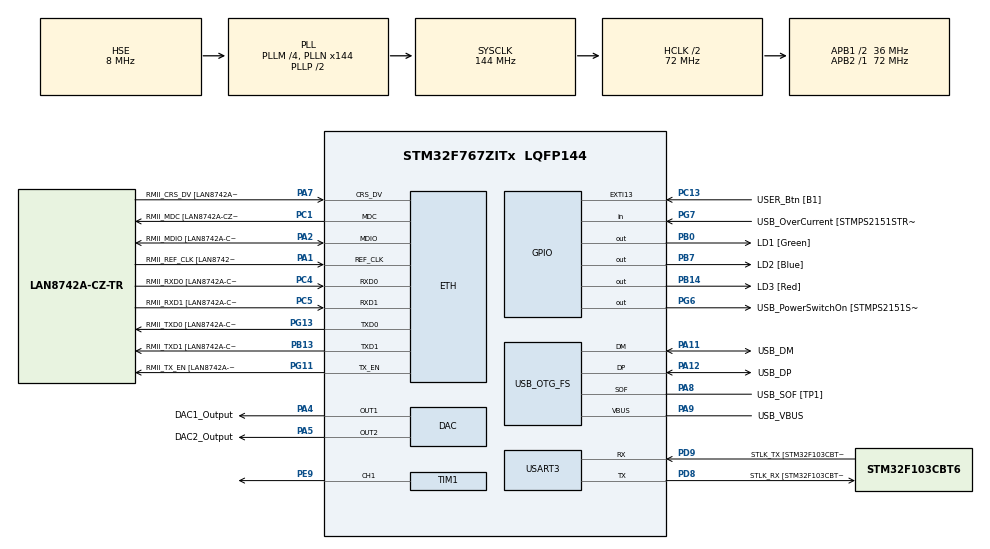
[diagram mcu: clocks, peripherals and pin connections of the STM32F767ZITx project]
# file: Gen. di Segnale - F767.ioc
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ETH.MediaInterface=HAL_ETH_RMII_MODE
ETH.PHY_Name=LAN8742A_PHY_ADDRESS
ETH.PHY_Value=0
ETH.PhyAddress=0
Mcu.Family=STM32F7
Mcu.Name=STM32F767ZITx
Mcu.Package=LQFP144
NVIC.PriorityGroup=NVIC_PRIORITYGROUP_4
NVIC.TIM2_IRQn=true\:0\:0\:false\:false\:true\:true\:true\:true
PA1.GPIO_Label=RMII_REF_CLK [LAN8742A-CZ-TR_REFCLK0]
PA1.Mode=RMII
PA1.Signal=ETH_REF_CLK
PA10.GPIO_Label=USB_ID
PA10.Signal=USB_OTG_FS_ID
PA11.GPIO_Label=USB_DM
PA11.Mode=Device_Only
PA11.Signal=USB_OTG_FS_DM
PA12.GPIO_Label=USB_DP
PA12.Mode=Device_Only
PA12.Signal=USB_OTG_FS_DP
PA13.GPIO_Label=TMS
PA13.Mode=Serial_Wire
PA13.Signal=SYS_JTMS-SWDIO
PA14.GPIO_Label=TCK
PA14.Mode=Serial_Wire
PA14.Signal=SYS_JTCK-SWCLK
PA2.GPIO_Label=RMII_MDIO [LAN8742A-CZ-TR_MDIO]
PA2.Mode=RMII
PA2.Signal=ETH_MDIO
PA4.GPIO_Label=DAC1_Output
PA4.Signal=COMP_DAC1_group
PA5.GPIO_Label=DAC2_Output
PA5.Signal=COMP_DAC2_group
PA7.GPIO_Label=RMII_CRS_DV [LAN8742A-CZ-TR_CRS_DV]
PA7.Mode=RMII
PA7.Signal=ETH_CRS_DV
PA8.GPIO_Label=USB_SOF [TP1]
PA8.Mode=Activate_SOF_FS
PA8.Signal=USB_OTG_FS_SOF
PA9.GPIO_Label=USB_VBUS
PA9.Mode=Activate_VBUS
PA9.Signal=USB_OTG_FS_VBUS
PB0.GPIO_Label=LD1 [Green]
PB0.Signal=GPIO_Output
PB13.GPIO_Label=RMII_TXD1 [LAN8742A-CZ-TR_TXD1]
PB13.Mode=RMII
PB13.Signal=ETH_TXD1
PB14.GPIO_Label=LD3 [Red]
PB14.Signal=GPIO_Output
PB3.GPIO_Label=SWO
PB3.Signal=SYS_JTDO-SWO
PB7.GPIO_Label=LD2 [Blue]
PB7.Signal=GPIO_Output
PC1.GPIO_Label=RMII_MDC [LAN8742A-CZ-TR_MDC]
PC1.Mode=RMII
PC1.Signal=ETH_MDC
PC13.GPIO_Label=USER_Btn [B1]
PC13.Signal=GPXTI13
PC14/OSC32_IN.Mode=LSE-External-Oscillator
PC14/OSC32_IN.Signal=RCC_OSC32_IN
PC15/OSC32_OUT.Mode=LSE-External-Oscillator
PC15/OSC32_OUT.Signal=RCC_OSC32_OUT
PC4.GPIO_Label=RMII_RXD0 [LAN8742A-CZ-TR_RXD0]
PC4.Mode=RMII
PC4.Signal=ETH_RXD0
PC5.GPIO_Label=RMII_RXD1 [LAN8742A-CZ-TR_RXD1]
PC5.Mode=RMII
PC5.Signal=ETH_RXD1
PD8.GPIO_Label=STLK_RX [STM32F103CBT6_PA3]
PD8.Mode=Asynchronous
PD8.Signal=USART3_TX
PD9.GPIO_Label=STLK_TX [STM32F103CBT6_PA2]
PD9.Mode=Asynchronous
PD9.Signal=USART3_RX
PE9.Signal=S_TIM1_CH1
PG11.GPIO_Label=RMII_TX_EN [LAN8742A-CZ-TR_TXEN]
PG11.Mode=RMII
PG11.Signal=ETH_TX_EN
PG13.GPIO_Label=RMII_TXD0 [LAN8742A-CZ-TR_TXD0]
PG13.Mode=RMII
PG13.Signal=ETH_TXD0
PG6.GPIO_Label=USB_PowerSwitchOn [STMPS2151STR_EN]
PG6.Signal=GPIO_Output
PG7.GPIO_Label=USB_OverCurrent [STMPS2151STR_FAULT]
PG7.Signal=GPIO_Input
PH0/OSC_IN.GPIO_Label=MCO [STM32F103CBT6_PA8]
PH0/OSC_IN.Mode=HSE-External-Oscillator
PH0/OSC_IN.Signal=RCC_OSC_IN
PH1/OSC_OUT.Mode=HSE-External-Oscillator
PH1/OSC_OUT.Signal=RCC_OSC_OUT
ProjectManager.HeapSize=0x200
ProjectManager.StackSize=0x400
ProjectManager.TargetToolchain=STM32CubeIDE
RCC.48MHZClocksFreq_Value=24000000
RCC.AHBCLKDivider=RCC_SYSCLK_DIV2
RCC.AHBFreq_Value=72000000
RCC.APB1CLKDivider=RCC_HCLK_DIV2
RCC.APB1Freq_Value=36000000
RCC.APB1TimFreq_Value=72000000
RCC.APB2Freq_Value=72000000
RCC.APB2TimFreq_Value=72000000
RCC.CortexFreq_Value=72000000
RCC.HCLKFreq_Value=72000000
RCC.HSE_VALUE=8000000
RCC.HSI_VALUE=16000000
RCC.PLLM=4
RCC.PLLMUL=RCC_PLL_MUL9
RCC.PLLN=144
RCC.PLLQ=6
RCC.PRESCALERUSB=RCC_USBCLKSOURCE_PLL_DIV1_5
RCC.SYSCLKFreq_VALUE=144000000
RCC.SYSCLKSource=RCC_SYSCLKSOURCE_PLLCLK
RCC.SYSCLKSourceVirtual=RCC_SYSCLKSOURCE_PLLCLK
RCC.USBFreq_Value=48000000
RCC.VCOOutputFreq_Value=288000000
SH.COMP_DAC1_group.0=DAC_OUT1,DAC_OUT1
SH.COMP_DAC2_group.0=DAC_OUT2,DAC_OUT2
SH.S_TIM1_CH1.0=TIM1_CH1,PWM Generation1 CH1
TIM1.AutoReloadPreload=TIM_AUTORELOAD_PRELOAD_ENABLE
TIM1.Channel-PWM\ Generation1\ CH1=TIM_CHANNEL_1
TIM1.Period=1023
TIM2.Period=999
TIM2.Prescaler=7199
USART3.VirtualMode-Asynchronous=VM_ASYNC
USB_OTG_FS.VirtualMode=Device_Only
VP_TIM1_VS_ClockSourceINT.Mode=Internal
VP_TIM2_VS_ClockSourceINT.Mode=Internal
board=NUCLEO-F767ZI

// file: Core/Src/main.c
/* USER CODE BEGIN Header */
/**
  ******************************************************************************
  * @file           : main.c
  * @brief          : Main program body
  ******************************************************************************
  * @attention
  *
  * Copyright (c) 2023 STMicroelectronics.
  * All rights reserved.
  *
  * This software is licensed under terms that can be found in the LICENSE file
  * in the root directory of this software component.
  * If no LICENSE file comes with this software, it is provided AS-IS.
  *
  ******************************************************************************
  */
/* USER CODE END Header */
#include "main.h"
#include "dac.h"
#include "eth.h"
#include "tim.h"
#include "usart.h"
#include "usb_otg.h"
#include "gpio.h"

/* USER CODE BEGIN Includes */
#include "stdio.h"
#include "gensignal.h"
/* USER CODE END Includes */

/* USER CODE BEGIN PV */
int genSigState=0;
uint8_t step_index=0;
int stepMutex=1;
int butt_Mutex=1;  //debounce che usa lo stesso TIM2 0.33s
uint8_t next_step=1;
uint8_t butt_counter=3;

uint8_t *p_step_index=0;
uint8_t *p_next_step=0;
/* USER CODE END PV */

void SystemClock_Config(void);
/* USER CODE BEGIN PFP */
#define PUTCHAR_PROTOTYPE int __io_putchar(int ch)
/* USER CODE END PFP */

int main(void)
{

  /* MCU Configuration--------------------------------------------------------*/

  /* Reset of all peripherals, Initializes the Flash interface and the Systick. */
  HAL_Init();

  /* Configure the system clock */
  SystemClock_Config();

  /* Initialize all configured peripherals */
  MX_GPIO_Init();
  MX_ETH_Init();
  MX_USART3_UART_Init();
  MX_USB_OTG_FS_PCD_Init();
  MX_DAC_Init();
  MX_TIM1_Init();
  MX_TIM2_Init();
  /* USER CODE BEGIN 2 */
  HAL_DAC_Start(&hdac, DAC_CHANNEL_1);
  HAL_DAC_Start(&hdac, DAC_CHANNEL_2);
  HAL_TIM_PWM_Start(&htim1, TIM_CHANNEL_1);
  TIM1->CCR1 = 0;
  if (HAL_TIM_Base_Start_IT(&htim2) != HAL_OK){
	  /* Starting Error */
	  Error_Handler();
  }
  /* USER CODE END 2 */

  /* Infinite loop */
  /* USER CODE BEGIN WHILE */
  while (1)
  {
	  // gestione stato + LED
	  switch(genSigState){
		case GS_RESET:
			//printf("reset\r\n");
			//step_index=0;
			HAL_GPIO_WritePin(GPIOB, GPIO_PIN_14, GPIO_PIN_SET);  //accendo rosso
			HAL_GPIO_WritePin(GPIOB, GPIO_PIN_7, GPIO_PIN_SET);  //accendo blu
			HAL_GPIO_WritePin(GPIOB, GPIO_PIN_0, GPIO_PIN_SET);  //accendo verde

			if(HAL_GPIO_ReadPin(GPIOC, GPIO_PIN_13) && butt_Mutex){
				genSigState=FASE1;
				step_index=0; // inizia la prossima fase dall'inizio
				next_step=1;
				butt_Mutex=0;
				printf("\n\n   ---- CASE 1 ----\r\n\n");

				continue;
			}
			break;

		case FASE1:
			//printf("case 1\r\n");
			HAL_GPIO_WritePin(GPIOB, GPIO_PIN_14, GPIO_PIN_SET);  //accendo rosso
			HAL_GPIO_WritePin(GPIOB, GPIO_PIN_7, GPIO_PIN_RESET);  //accendo blu
			HAL_GPIO_WritePin(GPIOB, GPIO_PIN_0, GPIO_PIN_RESET);  //accendo verde

			if(HAL_GPIO_ReadPin(GPIOC, GPIO_PIN_13) && butt_Mutex){
				genSigState=FASE2;
				step_index=0;
				next_step=1;
				butt_Mutex=0;
				printf("\n\n   ---- CASE 2 ----\r\n\n");

				continue;
			}
			break;

		case FASE2:
			//printf("case 2\r\n");
			HAL_GPIO_WritePin(GPIOB, GPIO_PIN_14, GPIO_PIN_RESET);  //accendo rosso
			HAL_GPIO_WritePin(GPIOB, GPIO_PIN_7, GPIO_PIN_SET);  //accendo blu
			HAL_GPIO_WritePin(GPIOB, GPIO_PIN_0, GPIO_PIN_RESET);  //accendo verde

			if(HAL_GPIO_ReadPin(GPIOC, GPIO_PIN_13) && butt_Mutex){
				genSigState=FASE3;
				step_index=0;
				next_step=1;
				butt_Mutex=0;
				printf("\n\n   ---- CASE 3 ----\r\n\n");

				continue;
			}
			break;

		case FASE3:
			//printf("case 3\r\n");
			HAL_GPIO_WritePin(GPIOB, GPIO_PIN_14, GPIO_PIN_RESET);  //accendo rosso
			HAL_GPIO_WritePin(GPIOB, GPIO_PIN_7, GPIO_PIN_RESET);  //accendo blu
			HAL_GPIO_WritePin(GPIOB, GPIO_PIN_0, GPIO_PIN_SET);  //accendo verde

			if(HAL_GPIO_ReadPin(GPIOC, GPIO_PIN_13) && butt_Mutex){
				genSigState=FASE4;
				step_index=0;
				next_step=1;
				butt_Mutex=0;
				printf("\n\n   ---- CASE 4 ----\r\n\n");

				continue;
			}
			break;

		case FASE4:
			//printf("case 4\r\n");
			HAL_GPIO_WritePin(GPIOB, GPIO_PIN_14, GPIO_PIN_SET);  //accendo rosso
			HAL_GPIO_WritePin(GPIOB, GPIO_PIN_7, GPIO_PIN_SET);  //accendo blu
			HAL_GPIO_WritePin(GPIOB, GPIO_PIN_0, GPIO_PIN_RESET);  //accendo verde

			if(HAL_GPIO_ReadPin(GPIOC, GPIO_PIN_13) && butt_Mutex){
				genSigState=FASE5;
				step_index=0;
				next_step=1;
				butt_Mutex=0;
				printf("\n\n   ---- CASE 5 ----\r\n\n");

				continue;
			}
			break;

		case FASE5:
			//printf("case 5\r\n");
			HAL_GPIO_WritePin(GPIOB, GPIO_PIN_14, GPIO_PIN_RESET);  //accendo rosso
			HAL_GPIO_WritePin(GPIOB, GPIO_PIN_7, GPIO_PIN_SET);  //accendo blu
			HAL_GPIO_WritePin(GPIOB, GPIO_PIN_0, GPIO_PIN_SET);  //accendo verde

			if(HAL_GPIO_ReadPin(GPIOC, GPIO_PIN_13) && butt_Mutex){
				genSigState=0; //mi porta allo stato RESET
				step_index=0;
				next_step=1;
				butt_Mutex=0;
				printf("\n\n   ---- RESET ----\r\n\n");

				continue;
			}
			break;

		default:
			genSigState=GS_RESET;
			step_index=0;

			printf("---DEFAULT\r\n");
			HAL_GPIO_WritePin(GPIOB, GPIO_PIN_14, GPIO_PIN_SET);  //accendo rosso
			HAL_GPIO_WritePin(GPIOB, GPIO_PIN_7, GPIO_PIN_SET);  //accendo blu
			HAL_GPIO_WritePin(GPIOB, GPIO_PIN_0, GPIO_PIN_SET);  //accendo verde
			break;
	  }

	  p_step_index=&step_index;
	  p_next_step=&next_step;

	  // se mutex è ok, avvia prossimo step della fase
	  if(stepMutex==PLAY){
		  PlayStep(genSigState, p_step_index, p_next_step);
		  stepMutex=WAIT;
	  }

    /* USER CODE END WHILE */

  }
}

void SystemClock_Config(void)
{
  RCC_OscInitTypeDef RCC_OscInitStruct = {0};
  RCC_ClkInitTypeDef RCC_ClkInitStruct = {0};

  /** Configure LSE Drive Capability
  */
  HAL_PWR_EnableBkUpAccess();

  /** Configure the main internal regulator output voltage
  */
  __HAL_RCC_PWR_CLK_ENABLE();
  __HAL_PWR_VOLTAGESCALING_CONFIG(PWR_REGULATOR_VOLTAGE_SCALE3);

  /** Initializes the RCC Oscillators according to the specified parameters
  * in the RCC_OscInitTypeDef structure.
  */
  RCC_OscInitStruct.OscillatorType = RCC_OSCILLATORTYPE_HSE;
  RCC_OscInitStruct.HSEState = RCC_HSE_ON;
  RCC_OscInitStruct.PLL.PLLState = RCC_PLL_ON;
  RCC_OscInitStruct.PLL.PLLSource = RCC_PLLSOURCE_HSE;
  RCC_OscInitStruct.PLL.PLLM = 4;
  RCC_OscInitStruct.PLL.PLLN = 144;
  RCC_OscInitStruct.PLL.PLLP = RCC_PLLP_DIV2;
  RCC_OscInitStruct.PLL.PLLQ = 6;
  RCC_OscInitStruct.PLL.PLLR = 2;
  if (HAL_RCC_OscConfig(&RCC_OscInitStruct) != HAL_OK)
  {
    Error_Handler();
  }

  /** Initializes the CPU, AHB and APB buses clocks
  */
  RCC_ClkInitStruct.ClockType = RCC_CLOCKTYPE_HCLK|RCC_CLOCKTYPE_SYSCLK
                              |RCC_CLOCKTYPE_PCLK1|RCC_CLOCKTYPE_PCLK2;
  RCC_ClkInitStruct.SYSCLKSource = RCC_SYSCLKSOURCE_PLLCLK;
  RCC_ClkInitStruct.AHBCLKDivider = RCC_SYSCLK_DIV2;
  RCC_ClkInitStruct.APB1CLKDivider = RCC_HCLK_DIV2;
  RCC_ClkInitStruct.APB2CLKDivider = RCC_HCLK_DIV1;

  if (HAL_RCC_ClockConfig(&RCC_ClkInitStruct, FLASH_LATENCY_2) != HAL_OK)
  {
    Error_Handler();
  }
}

/* USER CODE BEGIN 4 */
PUTCHAR_PROTOTYPE
{
  HAL_UART_Transmit(&huart3, (uint8_t *)&ch, 1, 0xFFFF);
  return ch;
}

// Interrupt di TIM2 (0.33s)
void HAL_TIM_PeriodElapsedCallback(TIM_HandleTypeDef *htim)
{
	if (htim == &htim2)
	{
		printf("TICK - next_step=%d\r\n", next_step);

		next_step--;
		if(next_step==0 && stepMutex==WAIT){
			stepMutex=PLAY;
			//printf("stepMutex=PLAY\r\n");
		}

		if(butt_counter>0){
			butt_counter--;
		}
		else if(butt_Mutex==0){
			butt_counter=3;
			butt_Mutex=1;
		}
	}
}

/* USER CODE END 4 */

void Error_Handler(void)
{
  __disable_irq();
  while (1)
  {
  }
}
